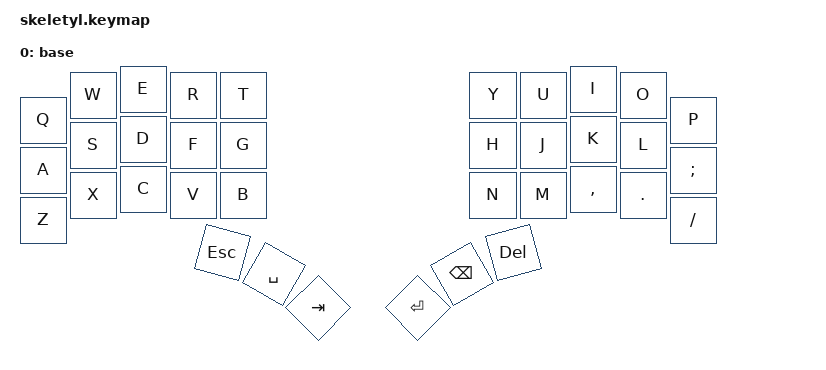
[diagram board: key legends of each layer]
#include <behaviors.dtsi>
#include <dt-bindings/zmk/keys.h>
#include <dt-bindings/zmk/bt.h>
#include <dt-bindings/zmk/outputs.h>

/ {
    keymap {
        compatible = "zmk,keymap";

        base {
            display-name = "base";
            bindings = <
                &kp Q    &kp W  &kp E    &kp R      &kp T      &kp Y  &kp U     &kp I      &kp O    &kp P
                &kp A    &kp S  &kp D    &kp F      &kp G      &kp H  &kp J     &kp K      &kp L    &kp SEMICOLON
                &kp Z    &kp X  &kp C    &kp V      &kp B      &kp N  &kp M     &kp COMMA  &kp DOT  &kp SLASH
                &kp TAB         &kp ESC  &kp SPACE                    &kp BSPC  &kp DEL             &kp RET
            >;
        };
    };
};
